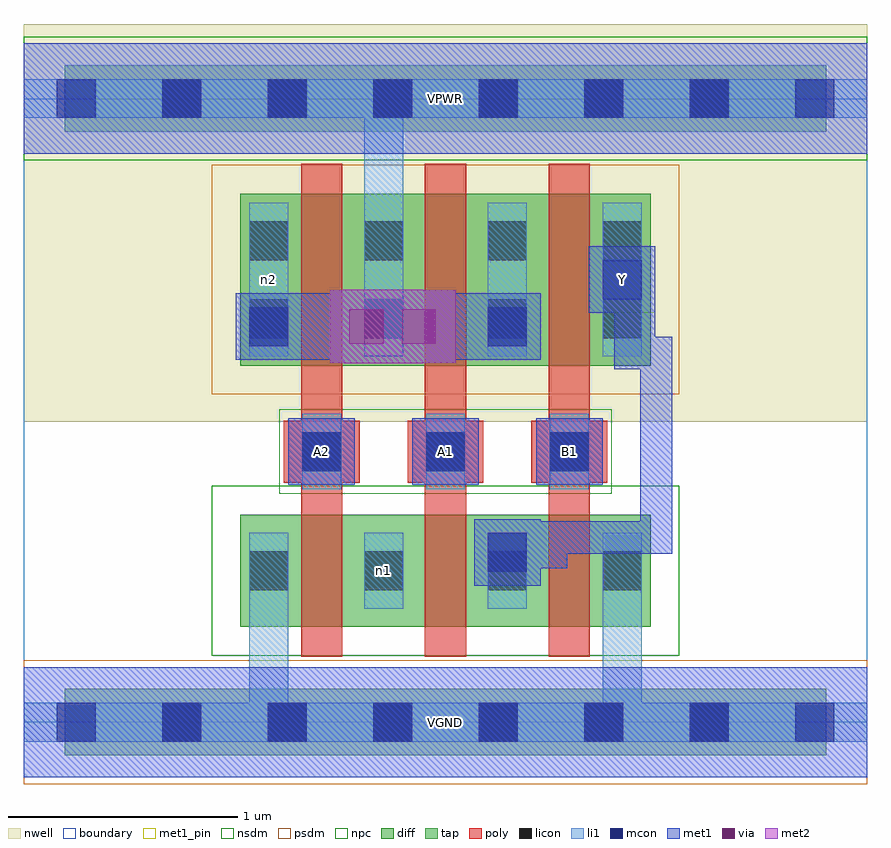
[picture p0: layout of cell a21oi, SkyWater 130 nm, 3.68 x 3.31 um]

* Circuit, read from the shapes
.subckt a21oi A1 A2 B1 VGND VPWR Y n1 n2
XM1 n1 A2 VGND VGND sky130_fd_pr__nfet_01v8 w=0.49 l=0.18
XM2 Y A1 n1 VGND sky130_fd_pr__nfet_01v8 w=0.49 l=0.18
XM3 VGND B1 Y VGND sky130_fd_pr__nfet_01v8 w=0.49 l=0.18
XM4 VPWR A2 n2 VPWR sky130_fd_pr__pfet_01v8 w=0.75 l=0.18
XM5 n2 A1 VPWR VPWR sky130_fd_pr__pfet_01v8 w=0.75 l=0.18
XM6 Y B1 n2 VPWR sky130_fd_pr__pfet_01v8 w=0.75 l=0.18
.ends

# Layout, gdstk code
import gdstk
lib = gdstk.Library(unit=1e-6, precision=1e-09)
def R(c, l, rs):  # rectangles x0, y0, x1, y1
    for r in rs: c.add(gdstk.rectangle(r[:2], r[2:], *l))
def A(c, l, x, y, w, h, nx, ny, dx, dy):  # array of equal rectangles
    R(c, l, [(x+i*dx, y+j*dy, x+i*dx+w, y+j*dy+h) for i in range(nx) for j in range(ny)])
nwell = (64, 20)
diff = (65, 20)
tap = (65, 44)
poly = (66, 20)
licon = (66, 44)
li1 = (67, 20)
mcon = (67, 44)
met1_pin = (68, 16)
met1 = (68, 20)
via = (68, 44)
met2 = (69, 20)
nsdm = (93, 44)
psdm = (94, 20)
npc = (95, 20)
boundary = (235, 4)

a21oi = lib.new_cell('a21oi')
R(a21oi, nwell, [(0,1.31,3.68,3.045)])
R(a21oi, diff, [(0.945,0.415,2.735,0.905), (0.945,1.555,2.735,2.305)])
R(a21oi, tap, [(0.18,-0.145,3.5,0.145), (0.18,2.575,3.5,2.865)])
A(a21oi, poly, 1.21, 0.285, 0.18, 2.15, 3, 1, 0.54, 0)
A(a21oi, poly, 1.135, 1.045, 0.33, 0.27, 3, 1, 0.54, 0)
A(a21oi, licon, 0.605, -0.085, 0.17, 0.17, 6, 2, 0.46, 2.72)
A(a21oi, licon, 1.215, 1.095, 0.17, 0.17, 3, 1, 0.54, 0)
R(a21oi, licon, [(0.985,0.575,1.155,0.745), (1.485,0.575,1.655,0.745), (2.025,0.575,2.195,0.745), (2.525,0.575,2.695,0.745), (0.985,1.675,1.155,1.845), (1.485,1.675,1.655,1.845), (2.025,1.675,2.195,1.845), (2.525,1.675,2.695,1.845), (0.985,2.015,1.155,2.185), (1.485,2.015,1.655,2.185), (2.025,2.015,2.195,2.185), (2.525,2.015,2.695,2.185)])
A(a21oi, li1, 1.215, 1.015, 0.17, 0.33, 3, 1, 0.54, 0)
R(a21oi, li1, [(0,-0.085,3.68,0.085), (0.985,-0.085,1.155,0.825), (2.525,-0.085,2.695,0.825), (0.985,0.495,1.155,0.825), (1.485,0.495,1.655,0.825), (2.025,0.495,2.195,0.825), (2.525,0.495,2.695,0.825), (0.985,1.595,1.155,2.265), (1.485,1.595,1.655,2.265), (1.485,1.595,1.655,2.805), (2.025,1.595,2.195,2.265), (2.525,1.595,2.695,2.265), (0,2.635,3.68,2.805)])
A(a21oi, mcon, 0.145, -0.085, 0.17, 0.17, 8, 2, 0.46, 2.72)
A(a21oi, mcon, 1.215, 1.095, 0.17, 0.17, 3, 1, 0.54, 0)
R(a21oi, mcon, [(2.025,0.655,2.195,0.825), (0.985,1.64,1.155,1.81), (2.025,1.64,2.195,1.81), (2.525,1.845,2.695,2.015)])
A(a21oi, met1_pin, 1.155, 1.035, 0.29, 0.29, 3, 1, 0.54, 0)
R(a21oi, met1_pin, [(0,-0.24,3.68,0.24), (2.465,1.785,2.755,2.075), (0,2.48,3.68,2.96)])
A(a21oi, met1, 1.155, 1.035, 0.29, 0.29, 3, 1, 0.54, 0)
R(a21oi, met1, [(0,-0.24,3.68,0.24), (1.965,0.595,2.255,0.885), (2.04,0.67,2.37,0.81), (2.23,0.67,2.37,0.875), (2.23,0.735,2.83,0.875), (2.69,0.735,2.83,1.68), (2.575,1.54,2.715,2.025), (2.575,1.54,2.83,1.68), (1.335,1.565,1.655,1.885), (1.565,1.565,1.885,1.885), (0.925,1.58,1.215,1.87), (1.215,1.58,1.335,1.87), (1.885,1.58,1.965,1.87), (1.965,1.58,2.255,1.87), (1,1.655,1.335,1.795), (1.195,1.655,1.565,1.795), (1.655,1.655,2.025,1.795), (1.885,1.655,2.18,1.795), (2.575,1.68,2.755,1.785), (2.69,1.68,2.755,1.785), (2.465,1.785,2.755,2.075), (2.575,1.885,2.715,2.025), (0,2.48,3.68,2.96)])
R(a21oi, via, [(1.42,1.65,1.57,1.8), (1.65,1.65,1.8,1.8)])
R(a21oi, met2, [(1.335,1.565,1.655,1.885), (1.565,1.565,1.885,1.885), (1.425,1.655,1.795,1.795)])
R(a21oi, nsdm, [(0.82,0.29,2.86,1.03), (0,2.45,3.68,2.99)])
R(a21oi, psdm, [(0,-0.27,3.68,0.27), (0.82,1.43,2.86,2.43)])
R(a21oi, npc, [(1.115,0.995,2.565,1.365)])
R(a21oi, boundary, [(0,0,3.68,2.72)])
a21oi.add(gdstk.Label('n1', (1.57,0.66), layer=67, texttype=5))
a21oi.add(gdstk.Label('n2', (1.07,1.93), layer=67, texttype=5))
a21oi.add(gdstk.Label('A1', (1.84,1.18), layer=68, texttype=5))
a21oi.add(gdstk.Label('A2', (1.3,1.18), layer=68, texttype=5))
a21oi.add(gdstk.Label('B1', (2.38,1.18), layer=68, texttype=5))
a21oi.add(gdstk.Label('Y', (2.61,1.93), layer=68, texttype=5))
a21oi.add(gdstk.Label('VPWR', (1.84,2.72), layer=68, texttype=5))
a21oi.add(gdstk.Label('VGND', (1.84,0), layer=68, texttype=5))
a21oi.add(gdstk.Label('A1', (1.84,1.18), layer=68, texttype=16))
a21oi.add(gdstk.Label('A2', (1.3,1.18), layer=68, texttype=16))
a21oi.add(gdstk.Label('B1', (2.38,1.18), layer=68, texttype=16))
a21oi.add(gdstk.Label('Y', (2.61,1.93), layer=68, texttype=16))
a21oi.add(gdstk.Label('VPWR', (1.84,2.72), layer=68, texttype=16))
a21oi.add(gdstk.Label('VGND', (1.84,0), layer=68, texttype=16))

lib.write_gds('a21oi.gds')
